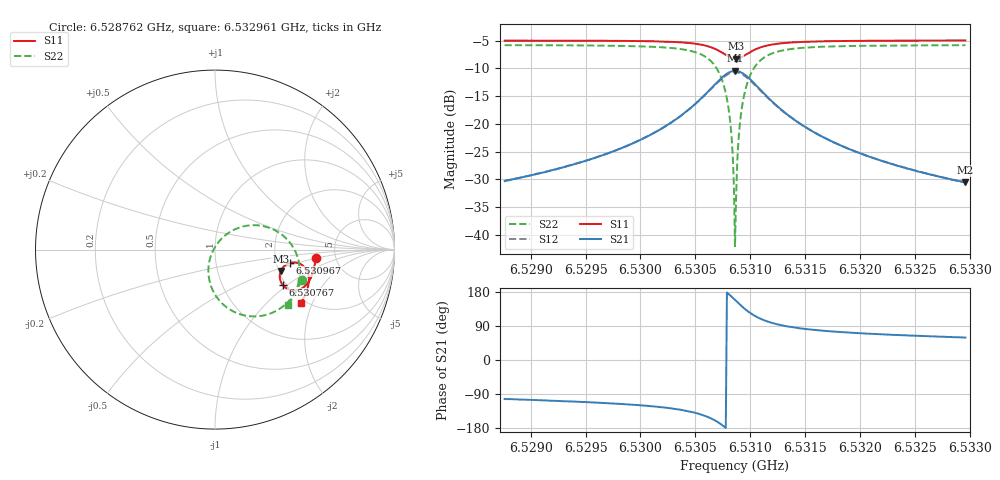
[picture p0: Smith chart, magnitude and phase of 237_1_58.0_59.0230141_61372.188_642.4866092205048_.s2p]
#  HZ  S  RI  R  50.00
! Rohde & Schwarz Vector Network Analyzer
! Rohde-Schwarz,ZNB20-2Port,1311601062101988,3.16
! Created: UTC 3/21/2024, 1:00:54 AM
! freq[Hz]  re:S11  im:S11  re:S21  im:S21  re:S12  im:S12  re:S22  im:S22
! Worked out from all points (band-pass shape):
!   401 points, 6.528762 GHz to 6.532961 GHz, reference 50 ohm
!   highest |S21| = -10.44 dB at 6.530862 GHz (marker M1); lowest = -30.6 dB at 6.532961 GHz (marker M2)
!   |S21| within 3 dB of the highest: 6.530652 GHz to 6.531073 GHz (420.8 kHz wide, 0.00644 % of centre)
!   lowest |S11| = -8.3 dB at 6.530872 GHz (marker M3), VSWR 2.26, Z = 102 - j28.8 ohm
!   |S11| at or under -10 dB: nowhere
!   |S22| runs from -42.0 to -5.8 dB; largest |S21 - S12| = 0.012
!   S11 on the Smith chart (normalised r, x): 6.528762 GHz: 3.49, -0.49; 6.530767 GHz: 1.92, -0.92; 6.530967 GHz: 2.38, -0.43; 6.532961 GHz: 1.89, -1.65
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6.5287624e9  0.5602 -0.0478  -0.00671 -0.0297  -0.00745 -0.0296  0.4832 -0.1691
6.5294656e9  0.5511 -0.1065  -0.0161 -0.0424  -0.0171 -0.0422  0.4522 -0.2331
6.5301688e9  0.5242 -0.1762  -0.049 -0.0728  -0.0511 -0.0714  0.3714 -0.3223
6.5304103e9  0.498 -0.2067  -0.0879 -0.0921  -0.0907 -0.089  0.2921 -0.3614
6.5305887e9  0.4552 -0.2265  -0.1547 -0.0986  -0.1571 -0.0921  0.1684 -0.3675
6.5306937e9  0.4109 -0.2221  -0.223 -0.0728  -0.2224 -0.0634  0.0537 -0.3127
6.5307671e9  0.3762 -0.1957  -0.2735 -0.0155  -0.2678 -0.00565  -0.0209 -0.2071
6.5308091e9  0.3633 -0.1687  -0.289 0.0364  -0.2803 0.0445  -0.0371 -0.1184
6.5308301e9  0.3608 -0.1526  -0.2898 0.0659  -0.2799 0.0723  -0.0326 -0.0702
6.5308406e9  0.3608 -0.1442  -0.2879 0.0808  -0.2776 0.0865  -0.0267 -0.0459
6.5308511e9  0.3618 -0.1359  -0.2845 0.0955  -0.2739 0.1003  -0.0185 -0.0223
6.5308616e9  0.3639 -0.1276  -0.2795 0.1102  -0.2689 0.1139  -0.00789 0.000465
6.5308721e9  0.3665 -0.1196  -0.2735 0.1242  -0.2627 0.1269  0.00509 0.0222
6.5308826e9  0.3701 -0.1121  -0.2658 0.1375  -0.2552 0.1394  0.0198 0.0424
6.5308931e9  0.3745 -0.1049  -0.257 0.1498  -0.2466 0.1507  0.0364 0.0608
6.5309141e9  0.3849 -0.0927  -0.2366 0.1711  -0.227 0.1705  0.0737 0.092
6.5309666e9  0.4172 -0.0741  -0.1775 0.2028  -0.1707 0.2  0.1766 0.133
6.53104e9  0.4594 -0.0739  -0.1037 0.205  -0.1002 0.2021  0.3003 0.1222
6.531145e9  0.4962 -0.0954  -0.0402 0.1749  -0.0383 0.1733  0.4028 0.0559
6.5315648e9  0.5231 -0.1743  0.0149 0.0845  0.0161 0.0844  0.4724 -0.1333
6.5322681e9  0.5048 -0.2464  0.0174 0.0406  0.0181 0.0403  0.4432 -0.2482
6.5329608e9  0.4788 -0.2983  0.0152 0.0255  0.0157 0.0251  0.408 -0.3081
